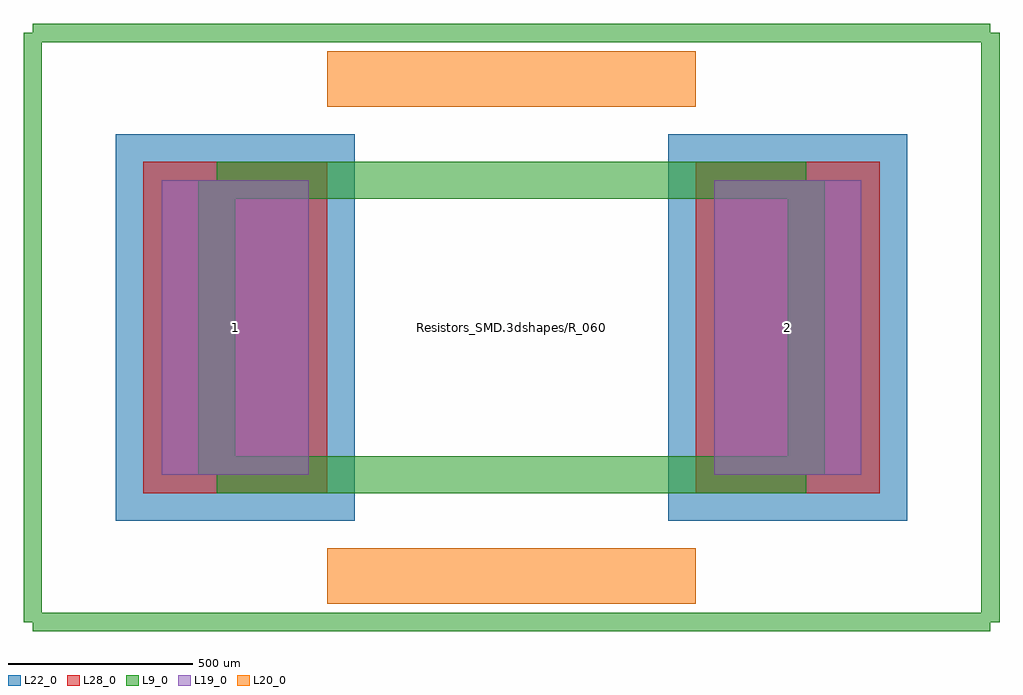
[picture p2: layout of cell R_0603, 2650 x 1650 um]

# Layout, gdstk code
import gdstk
lib = gdstk.Library(unit=1e-6, precision=1e-09)
def R(c, l, rs):  # rectangles x0, y0, x1, y1
    for r in rs: c.add(gdstk.rectangle(r[:2], r[2:], *l))
L9_0 = (9, 0)
L19_0 = (19, 0)
L20_0 = (20, 0)
L22_0 = (22, 0)
L28_0 = (28, 0)

r_0603 = lib.new_cell('R_0603')
R(r_0603, L19_0, [(-950,-400,-550,400), (550,-400,950,400)])
R(r_0603, L22_0, [(-1075,-525,-425,525), (425,-525,1075,525)])
R(r_0603, L28_0, [(-1000,-450,-500,450), (500,-450,1000,450)])
r_0603.add(gdstk.FlexPath([(-500,675),(500,675)], 149.998, ends="flush", simple_path=True, layer=20, datatype=0))  # L20_0
r_0603.add(gdstk.FlexPath([(500,-675),(-500,-675)], 149.998, ends="flush", simple_path=True, layer=20, datatype=0))  # L20_0
r_0603.add(gdstk.FlexPath([(1300,800),(1300,-800)], 50, ends="flush", simple_path=True, layer=9, datatype=0))  # L9_0
r_0603.add(gdstk.FlexPath([(-1300,800),(-1300,-800)], 50, ends="flush", simple_path=True, layer=9, datatype=0))  # L9_0
r_0603.add(gdstk.FlexPath([(-1300,-800),(1300,-800)], 50, ends="flush", simple_path=True, layer=9, datatype=0))  # L9_0
r_0603.add(gdstk.FlexPath([(-1300,800),(1300,800)], 50, ends="flush", simple_path=True, layer=9, datatype=0))  # L9_0
r_0603.add(gdstk.FlexPath([(-800,400),(800,400)], 100, ends="flush", simple_path=True, layer=9, datatype=0))  # L9_0
r_0603.add(gdstk.FlexPath([(800,400),(800,-400)], 100, ends="flush", simple_path=True, layer=9, datatype=0))  # L9_0
r_0603.add(gdstk.FlexPath([(800,-400),(-800,-400)], 100, ends="flush", simple_path=True, layer=9, datatype=0))  # L9_0
r_0603.add(gdstk.FlexPath([(-800,-400),(-800,400)], 100, ends="flush", simple_path=True, layer=9, datatype=0))  # L9_0
r_0603.add(gdstk.Label('Resistors_SMD.3dshapes/R_0603.wrl', (0,0), layer=12, texttype=0))
r_0603.add(gdstk.Label('2', (750,0), layer=28, texttype=0))
r_0603.add(gdstk.Label('1', (-750,0), layer=28, texttype=0))
r_0603.add(gdstk.Label('type', (0,-1900), layer=9, texttype=0))
r_0603.add(gdstk.Label('devicename', (0,1900), layer=9, texttype=0))

lib.write_gds('R_0603.gds')
